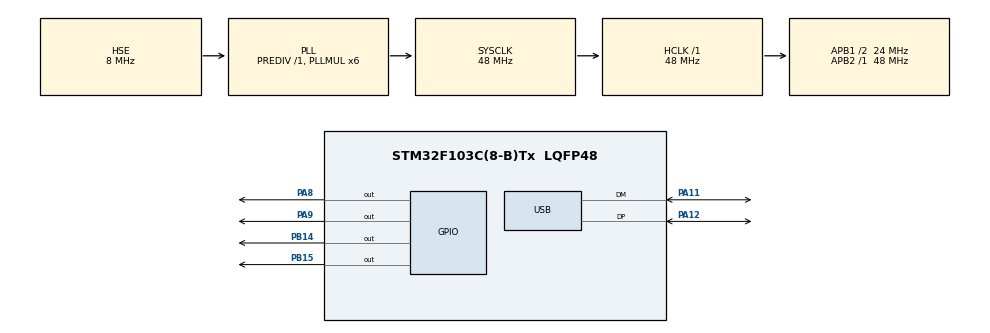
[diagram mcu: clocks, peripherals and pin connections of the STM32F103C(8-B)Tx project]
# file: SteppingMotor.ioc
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Mcu.Family=STM32F1
Mcu.Name=STM32F103C(8-B)Tx
Mcu.Package=LQFP48
NVIC.PriorityGroup=NVIC_PRIORITYGROUP_4
NVIC.TIM2_IRQn=true\:0\:0\:false\:false\:true\:true
NVIC.USB_LP_CAN1_RX0_IRQn=true\:0\:0\:false\:false\:true\:false
PA11.Mode=Device
PA11.Signal=USB_DM
PA12.Mode=Device
PA12.Signal=USB_DP
PA13.Mode=Serial_Wire
PA13.Signal=SYS_JTMS-SWDIO
PA14.Mode=Serial_Wire
PA14.Signal=SYS_JTCK-SWCLK
PA8.Signal=GPIO_Output
PA9.Signal=GPIO_Output
PB14.Signal=GPIO_Output
PB15.Signal=GPIO_Output
PD0-OSC_IN.Mode=HSE-External-Oscillator
PD0-OSC_IN.Signal=RCC_OSC_IN
PD1-OSC_OUT.Mode=HSE-External-Oscillator
PD1-OSC_OUT.Signal=RCC_OSC_OUT
ProjectManager.HeapSize=0x200
ProjectManager.StackSize=0x400
ProjectManager.TargetToolchain=SW4STM32
RCC.AHBFreq_Value=48000000
RCC.APB1CLKDivider=RCC_HCLK_DIV2
RCC.APB1Freq_Value=24000000
RCC.APB1TimFreq_Value=48000000
RCC.APB2Freq_Value=48000000
RCC.APB2TimFreq_Value=48000000
RCC.HCLKFreq_Value=48000000
RCC.PLLMUL=RCC_PLL_MUL6
RCC.PLLSourceVirtual=RCC_PLLSOURCE_HSE
RCC.SYSCLKFreq_VALUE=48000000
RCC.SYSCLKSource=RCC_SYSCLKSOURCE_PLLCLK
RCC.USBFreq_Value=48000000
TIM2.Period=38
TIM2.Prescaler=2400
USB_DEVICE.CLASS_NAME_FS=CDC
USB_DEVICE.VirtualMode=Cdc
USB_DEVICE.VirtualModeFS=Cdc_FS
VP_TIM2_VS_ClockSourceINT.Mode=Internal
VP_USB_DEVICE_VS_USB_DEVICE_CDC_FS.Mode=CDC_FS
board=custom

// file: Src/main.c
/**
  ******************************************************************************
  * @file           : main.c
  * @brief          : Main program body
  ******************************************************************************
  * This notice applies to any and all portions of this file
  * that are not between comment pairs USER CODE BEGIN and
  * USER CODE END. Other portions of this file, whether
  * inserted by the user or by software development tools
  * are owned by their respective copyright owners.
  *
  * Copyright (c) 2018 STMicroelectronics International N.V.
  * All rights reserved.
  *
  * Redistribution and use in source and binary forms, with or without
  * modification, are permitted, provided that the following conditions are met:
  *
  * 1. Redistribution of source code must retain the above copyright notice,
  *    this list of conditions and the following disclaimer.
  * 2. Redistributions in binary form must reproduce the above copyright notice,
  *    this list of conditions and the following disclaimer in the documentation
  *    and/or other materials provided with the distribution.
  * 3. Neither the name of STMicroelectronics nor the names of other
  *    contributors to this software may be used to endorse or promote products
  *    derived from this software without specific written permission.
  * 4. This software, including modifications and/or derivative works of this
  *    software, must execute solely and exclusively on microcontroller or
  *    microprocessor devices manufactured by or for STMicroelectronics.
  * 5. Redistribution and use of this software other than as permitted under
  *    this license is void and will automatically terminate your rights under
  *    this license.
  *
  * THIS SOFTWARE IS PROVIDED BY STMICROELECTRONICS AND CONTRIBUTORS "AS IS"
  * AND ANY EXPRESS, IMPLIED OR STATUTORY WARRANTIES, INCLUDING, BUT NOT
  * LIMITED TO, THE IMPLIED WARRANTIES OF MERCHANTABILITY, FITNESS FOR A
  * PARTICULAR PURPOSE AND NON-INFRINGEMENT OF THIRD PARTY INTELLECTUAL PROPERTY
  * RIGHTS ARE DISCLAIMED TO THE FULLEST EXTENT PERMITTED BY LAW. IN NO EVENT
  * SHALL STMICROELECTRONICS OR CONTRIBUTORS BE LIABLE FOR ANY DIRECT, INDIRECT,
  * INCIDENTAL, SPECIAL, EXEMPLARY, OR CONSEQUENTIAL DAMAGES (INCLUDING, BUT NOT
  * LIMITED TO, PROCUREMENT OF SUBSTITUTE GOODS OR SERVICES; LOSS OF USE, DATA,
  * OR PROFITS; OR BUSINESS INTERRUPTION) HOWEVER CAUSED AND ON ANY THEORY OF
  * LIABILITY, WHETHER IN CONTRACT, STRICT LIABILITY, OR TORT (INCLUDING
  * NEGLIGENCE OR OTHERWISE) ARISING IN ANY WAY OUT OF THE USE OF THIS SOFTWARE,
  * EVEN IF ADVISED OF THE POSSIBILITY OF SUCH DAMAGE.
  *
  ******************************************************************************
  */
#include "main.h"
#include "stm32f1xx_hal.h"
#include "usb_device.h"

/* USER CODE BEGIN Includes */
#include "MotorController.h"
#include "UserConfig.h"
#include "hardwareConfig.h"
#include "CommandCode.h"
#include "usbd_cdc_if.h"
#include "Exception.h"
#include "CExceptionConfig.h"
#include "CException.h"
#include "Error.h"
/* USER CODE END Includes */

TIM_HandleTypeDef htim2;

/* USER CODE BEGIN PV */
/* Private variables ---------------------------------------------------------*/

/* USER CODE END PV */

void SystemClock_Config(void);
static void MX_GPIO_Init(void);
static void MX_TIM2_Init(void);

/* USER CODE BEGIN PFP */
/* Private function prototypes -----------------------------------------------*/

/* USER CODE END PFP */

/* USER CODE BEGIN 0 */
//	CEXCEPTION_T ex;
  int Steps[2]={0,0};
  StoreCMD cmd1 = {0,0,0,0};
  Variable xVar = {0,0,0,0};
  Variable yVar = {0,0,0,0};
  Variable x1Var = {0,0,0,0};
  Variable y1Var = {0,0,0,0};
//  Variable zVar = {0,0,0,0};
  Variable fVar = {0,0,0,0};

  VariableMap g00VarTableMapping[] = {
    {'X',&xVar},
    {'Y',&yVar},
//    {'Z',&zVar},
//    {'F',&fVar},
    {NULL,NULL},
  };
  VariableMap g01VarTableMapping[] = {
    {'X',&x1Var},
    {'Y',&y1Var},
//    {'Z',&zVar},
    {'F',&fVar},
    {NULL,NULL},
  };

  GCodeMapping GCode00[] = {
    {.name = "G",.code = 0,.varMap = g00VarTableMapping,.doOperation = handleG00},
    {.name = "G",.code = 1,.varMap = g01VarTableMapping,.doOperation = handleG01},
    {.name = "G",.code = 21,.varMap = NULL,.doOperation = handleG20or21},
    {NULL,NULL,NULL,NULL},
  };

MotorInfo motorX={.name='X', .delta=0, .deltaRef=0, .error=0, .Dostepping=0, \
                  .isReferencing=ISFALSE, .GPIO =MOTOR_STEP_GPIO_PORT, .MotorPin=MOTORX_STEP_PIN};

MotorInfo motorY={.name='Y', .delta=0, .deltaRef=0, .error=0, .Dostepping=0, \
                  .isReferencing=ISFALSE, .GPIO =MOTOR_STEP_GPIO_PORT, .MotorPin=MOTORY_STEP_PIN};

//MotorInfo motorZ={.name='Z', .delta=0, .deltaRef=0, .error=0, .Dostepping=0, \
//                  .isReferencing=ISFALSE, .GPIO =MOTOR_STEP_GPIO_PORT, .MotorPin=MOTORZ_STEP_PIN};

 MotorInfo *MotorInfoTable[] = {
      &motorX,
      &motorY,
     // &motorZ,
       NULL,
     };
  int delta[] = {500,100};
  char *complete = "OK\n";
  char buffer1[100];

/* USER CODE END 0 */

int main(void)
{
  /* USER CODE BEGIN 1 */

	initialise_monitor_handles();

  /* USER CODE END 1 */

  /* MCU Configuration----------------------------------------------------------*/

  /* Reset of all peripherals, Initializes the Flash interface and the Systick. */
  HAL_Init();

  /* Configure the system clock */
  SystemClock_Config();

  /* Initialize all configured peripherals */
  MX_GPIO_Init();
  MX_TIM2_Init();
  MX_USB_DEVICE_Init();
  /* USER CODE BEGIN 2 */

  //DoMotorStepping(MotorInfoTable);

  /* USER CODE END 2 */

  /* Infinite loop */
  /* USER CODE BEGIN WHILE */
  while (1)
  {
	  DecodeandStepMotor();

  /* USER CODE END WHILE */

  }
}
void SystemClock_Config(void)
{

  RCC_OscInitTypeDef RCC_OscInitStruct;
  RCC_ClkInitTypeDef RCC_ClkInitStruct;
  RCC_PeriphCLKInitTypeDef PeriphClkInit;

    /**Initializes the CPU, AHB and APB busses clocks
    */
  RCC_OscInitStruct.OscillatorType = RCC_OSCILLATORTYPE_HSE;
  RCC_OscInitStruct.HSEState = RCC_HSE_ON;
  RCC_OscInitStruct.HSEPredivValue = RCC_HSE_PREDIV_DIV1;
  RCC_OscInitStruct.HSIState = RCC_HSI_ON;
  RCC_OscInitStruct.PLL.PLLState = RCC_PLL_ON;
  RCC_OscInitStruct.PLL.PLLSource = RCC_PLLSOURCE_HSE;
  RCC_OscInitStruct.PLL.PLLMUL = RCC_PLL_MUL6;
  if (HAL_RCC_OscConfig(&RCC_OscInitStruct) != HAL_OK)
  {
    _Error_Handler(__FILE__, __LINE__);
  }

    /**Initializes the CPU, AHB and APB busses clocks
    */
  RCC_ClkInitStruct.ClockType = RCC_CLOCKTYPE_HCLK|RCC_CLOCKTYPE_SYSCLK
                              |RCC_CLOCKTYPE_PCLK1|RCC_CLOCKTYPE_PCLK2;
  RCC_ClkInitStruct.SYSCLKSource = RCC_SYSCLKSOURCE_PLLCLK;
  RCC_ClkInitStruct.AHBCLKDivider = RCC_SYSCLK_DIV1;
  RCC_ClkInitStruct.APB1CLKDivider = RCC_HCLK_DIV2;
  RCC_ClkInitStruct.APB2CLKDivider = RCC_HCLK_DIV1;

  if (HAL_RCC_ClockConfig(&RCC_ClkInitStruct, FLASH_LATENCY_1) != HAL_OK)
  {
    _Error_Handler(__FILE__, __LINE__);
  }

  PeriphClkInit.PeriphClockSelection = RCC_PERIPHCLK_USB;
  PeriphClkInit.UsbClockSelection = RCC_USBCLKSOURCE_PLL;
  if (HAL_RCCEx_PeriphCLKConfig(&PeriphClkInit) != HAL_OK)
  {
    _Error_Handler(__FILE__, __LINE__);
  }

    /**Configure the Systick interrupt time
    */
  HAL_SYSTICK_Config(HAL_RCC_GetHCLKFreq()/1000);

    /**Configure the Systick
    */
  HAL_SYSTICK_CLKSourceConfig(SYSTICK_CLKSOURCE_HCLK);

  /* SysTick_IRQn interrupt configuration */
  HAL_NVIC_SetPriority(SysTick_IRQn, 0, 0);
}

/* TIM2 init function */
static void MX_TIM2_Init(void)
{

  TIM_ClockConfigTypeDef sClockSourceConfig;
  TIM_MasterConfigTypeDef sMasterConfig;

  htim2.Instance = TIM2;
  htim2.Init.Prescaler = 2400;
  htim2.Init.CounterMode = TIM_COUNTERMODE_UP;
  htim2.Init.Period = 38;
  htim2.Init.ClockDivision = TIM_CLOCKDIVISION_DIV1;
  htim2.Init.AutoReloadPreload = TIM_AUTORELOAD_PRELOAD_DISABLE;
  if (HAL_TIM_Base_Init(&htim2) != HAL_OK)
  {
    _Error_Handler(__FILE__, __LINE__);
  }

  sClockSourceConfig.ClockSource = TIM_CLOCKSOURCE_INTERNAL;
  if (HAL_TIM_ConfigClockSource(&htim2, &sClockSourceConfig) != HAL_OK)
  {
    _Error_Handler(__FILE__, __LINE__);
  }

  sMasterConfig.MasterOutputTrigger = TIM_TRGO_RESET;
  sMasterConfig.MasterSlaveMode = TIM_MASTERSLAVEMODE_DISABLE;
  if (HAL_TIMEx_MasterConfigSynchronization(&htim2, &sMasterConfig) != HAL_OK)
  {
    _Error_Handler(__FILE__, __LINE__);
  }

}

/** Configure pins as
        * Analog
        * Input
        * Output
        * EVENT_OUT
        * EXTI
*/
static void MX_GPIO_Init(void)
{

  GPIO_InitTypeDef GPIO_InitStruct;

  /* GPIO Ports Clock Enable */
  __HAL_RCC_GPIOD_CLK_ENABLE();
  __HAL_RCC_GPIOB_CLK_ENABLE();
  __HAL_RCC_GPIOA_CLK_ENABLE();

  /*Configure GPIO pin Output Level */
  HAL_GPIO_WritePin(GPIOB, GPIO_PIN_14, GPIO_PIN_RESET);

  /*Configure GPIO pin Output Level */
  HAL_GPIO_WritePin(GPIOB, GPIO_PIN_15, GPIO_PIN_SET);

  /*Configure GPIO pin Output Level */
  HAL_GPIO_WritePin(GPIOA, GPIO_PIN_8|GPIO_PIN_9, GPIO_PIN_RESET);

  /*Configure GPIO pins : PB14 PB15 */
  GPIO_InitStruct.Pin = GPIO_PIN_14|GPIO_PIN_15;
  GPIO_InitStruct.Mode = GPIO_MODE_OUTPUT_PP;
  GPIO_InitStruct.Pull = GPIO_NOPULL;
  GPIO_InitStruct.Speed = GPIO_SPEED_FREQ_LOW;
  HAL_GPIO_Init(GPIOB, &GPIO_InitStruct);

  /*Configure GPIO pins : PA8 PA9 */
  GPIO_InitStruct.Pin = GPIO_PIN_8|GPIO_PIN_9;
  GPIO_InitStruct.Mode = GPIO_MODE_OUTPUT_PP;
  GPIO_InitStruct.Pull = GPIO_NOPULL;
  GPIO_InitStruct.Speed = GPIO_SPEED_FREQ_LOW;
  HAL_GPIO_Init(GPIOA, &GPIO_InitStruct);

}

/* USER CODE BEGIN 4 */

void settimer2Periodvalue(int value){
	htim2.Instance->ARR = value;
}
/* USER CODE END 4 */

void _Error_Handler(char *file, int line)
{
  while(1)
  {
  }
}

/************************ (C) COPYRIGHT STMicroelectronics *****END OF FILE****/
